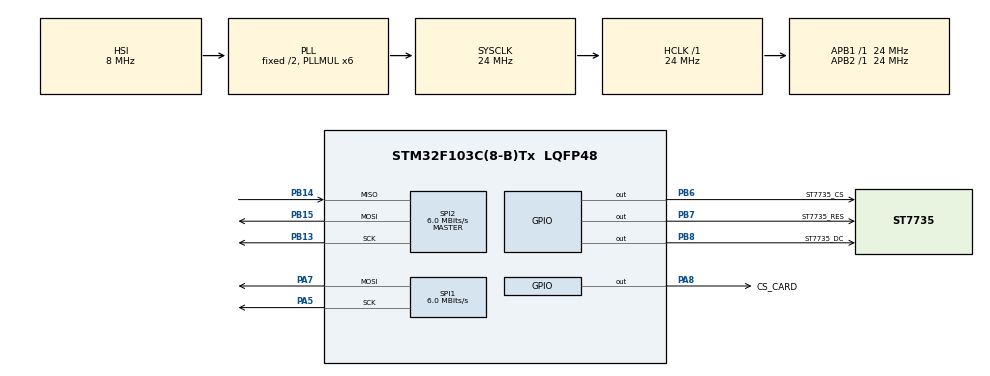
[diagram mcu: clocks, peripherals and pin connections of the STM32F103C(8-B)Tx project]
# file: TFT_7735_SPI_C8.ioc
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FATFS._MAX_SS=4096
FATFS._USE_LFN=1
Mcu.Family=STM32F1
Mcu.Name=STM32F103C(8-B)Tx
Mcu.Package=LQFP48
NVIC.PriorityGroup=NVIC_PRIORITYGROUP_4
PA13.Mode=Serial_Wire
PA13.Signal=SYS_JTMS-SWDIO
PA14.Mode=Serial_Wire
PA14.Signal=SYS_JTCK-SWCLK
PA5.Mode=TX_Only_Simplex_Unidirect_Master
PA5.Signal=SPI1_SCK
PA7.Mode=TX_Only_Simplex_Unidirect_Master
PA7.Signal=SPI1_MOSI
PA8.GPIO_Label=CS_CARD
PA8.Signal=GPIO_Output
PB13.Mode=Full_Duplex_Master
PB13.Signal=SPI2_SCK
PB14.Mode=Full_Duplex_Master
PB14.Signal=SPI2_MISO
PB15.Mode=Full_Duplex_Master
PB15.Signal=SPI2_MOSI
PB6.GPIO_Label=ST7735_CS
PB6.Signal=GPIO_Output
PB7.GPIO_Label=ST7735_RES
PB7.Signal=GPIO_Output
PB8.GPIO_Label=ST7735_DC
PB8.Signal=GPIO_Output
PD0-OSC_IN.Mode=HSE-External-Oscillator
PD0-OSC_IN.Signal=RCC_OSC_IN
PD1-OSC_OUT.Mode=HSE-External-Oscillator
PD1-OSC_OUT.Signal=RCC_OSC_OUT
ProjectManager.HeapSize=0x200
ProjectManager.StackSize=0x400
ProjectManager.TargetToolchain=STM32CubeIDE
RCC.AHBFreq_Value=24000000
RCC.APB1Freq_Value=24000000
RCC.APB1TimFreq_Value=24000000
RCC.APB2Freq_Value=24000000
RCC.APB2TimFreq_Value=24000000
RCC.HCLKFreq_Value=24000000
RCC.PLLMUL=RCC_PLL_MUL6
RCC.SYSCLKFreq_VALUE=24000000
RCC.SYSCLKSource=RCC_SYSCLKSOURCE_PLLCLK
RCC.USBFreq_Value=24000000
SPI1.BaudRatePrescaler=SPI_BAUDRATEPRESCALER_4
SPI1.CalculateBaudRate=6.0 MBits/s
SPI1.Direction=SPI_DIRECTION_2LINES
SPI1.Mode=SPI_MODE_MASTER
SPI1.VirtualType=VM_MASTER
SPI2.BaudRatePrescaler=SPI_BAUDRATEPRESCALER_4
SPI2.CalculateBaudRate=6.0 MBits/s
SPI2.Direction=SPI_DIRECTION_2LINES
SPI2.Mode=SPI_MODE_MASTER
SPI2.VirtualType=VM_MASTER
VP_FATFS_VS_Generic.Mode=User_defined
board=custom

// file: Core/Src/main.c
/* USER CODE BEGIN Header */
/**
  ******************************************************************************
  * @file           : main.c
  * @brief          : Main program body
  ******************************************************************************
  * @attention
  *
  * Copyright (c) 2023 STMicroelectronics.
  * All rights reserved.
  *
  * This software is licensed under terms that can be found in the LICENSE file
  * in the root directory of this software component.
  * If no LICENSE file comes with this software, it is provided AS-IS.
  *
  ******************************************************************************
  */
/* USER CODE END Header */
#include "main.h"
#include "fatfs.h"
#include <string.h>
#include "st7735.h"
#include "GFX_FUNCTIONS.h"
#include "fonts.h"
//#include "vangogh1.h"
#include "fatfs_sd.h"
#include <stdlib.h>
/* USER CODE BEGIN Includes */

//uint8_t *buff;
//buff = (uint8_t *)malloc(8192);

//uint8_t buff[8192]="xinchaoxinchao";
//uint16_t i_3 = 0;
//uint8_t y0_image = 0;
//uint8_t y1_image = 40;

/* USER CODE END Includes */

/* USER CODE BEGIN PD */
//#define pi 3.14
/* USER CODE END PD */

SPI_HandleTypeDef hspi1;
SPI_HandleTypeDef hspi2;

void SystemClock_Config(void);
static void MX_GPIO_Init(void);
static void MX_SPI1_Init(void);
static void MX_SPI2_Init(void);
void sd_read();

/* USER CODE BEGIN 0 */

FATFS fs;
FIL fil;
UINT bytesRead;
void sd_read(char *input_string)
{
	uint8_t *buff;
	buff = (uint8_t *)malloc(8192);
////	buff = (uint8_t *)malloc(90460);

//	static uint8_t *buff;

	if( f_mount(&fs, "", 0) == FR_OK)
	{
		if( f_open(&fil, input_string, FA_OPEN_ALWAYS| FA_READ) == FR_OK)
		{
			if( f_lseek(&fil, 0) == FR_OK)
			{
				if( f_read(&fil, buff, 8192, &bytesRead) != FR_OK)
				{
					Error_Handler();
				}

			}
		}
		ST7735_DrawImage(0, 0, 128, 32, (uint8_t*)buff);

		f_lseek(&fil, 8192);
		f_read(&fil, buff, 8192, &bytesRead);
//		f_close(&fil);
		ST7735_DrawImage(0, 32, 128, 32, (uint8_t*)buff);

		f_lseek(&fil, 16384);
		f_read(&fil, buff, 8192, &bytesRead);
		ST7735_DrawImage(0, 64, 128, 32, (uint8_t*)buff);

		f_lseek(&fil, 24576);
		f_read(&fil, buff, 8192, &bytesRead);
		ST7735_DrawImage(0, 96, 128, 32, (uint8_t*)buff);

		f_lseek(&fil, 32768);
		f_read(&fil, buff, 8192, &bytesRead);
		f_close(&fil);
		ST7735_DrawImage(0, 128, 128, 32, (uint8_t*)buff);
	}
//	free(buff);
//	buff = NULL;
}

/* USER CODE END 0 */

int main(void)
{

  /* MCU Configuration--------------------------------------------------------*/

  /* Reset of all peripherals, Initializes the Flash interface and the Systick. */
  HAL_Init();

  /* Configure the system clock */
  SystemClock_Config();

  /* Initialize all configured peripherals */
  MX_GPIO_Init();
  MX_SPI1_Init();
  MX_SPI2_Init();
  MX_FATFS_Init();
  /* USER CODE BEGIN 2 */
  ST7735_Init();
  HAL_Delay(500);
  ST7735_FillScreen(ST7735_BLACK);
//  sd_read("vangogh.bin");
  /* USER CODE END 2 */

  /* Infinite loop */
  while (1)
  {
		sd_read("vangogh.bin");
		HAL_Delay(2000);

		sd_read("2.bin");
		HAL_Delay(2000);

		sd_read("3.bin");
		HAL_Delay(2000);

		sd_read("4.bin");
		HAL_Delay(2000);

		sd_read("5.bin");
		HAL_Delay(2000);

		sd_read("6.bin");
		HAL_Delay(2000);

		sd_read("7.bin");
		HAL_Delay(2000);

		sd_read("8.bin");
		HAL_Delay(2000);

		sd_read("9.bin");
		HAL_Delay(2000);

		sd_read("10.bin");
		HAL_Delay(2000);

		sd_read("11.bin");
		HAL_Delay(2000);

		sd_read("12.bin");
		HAL_Delay(2000);
  }
}

void SystemClock_Config(void)
{
  RCC_OscInitTypeDef RCC_OscInitStruct = {0};
  RCC_ClkInitTypeDef RCC_ClkInitStruct = {0};

  /** Initializes the RCC Oscillators according to the specified parameters
  * in the RCC_OscInitTypeDef structure.
  */
  RCC_OscInitStruct.OscillatorType = RCC_OSCILLATORTYPE_HSI;
  RCC_OscInitStruct.HSIState = RCC_HSI_ON;
  RCC_OscInitStruct.HSICalibrationValue = RCC_HSICALIBRATION_DEFAULT;
  RCC_OscInitStruct.PLL.PLLState = RCC_PLL_ON;
  RCC_OscInitStruct.PLL.PLLSource = RCC_PLLSOURCE_HSI_DIV2;
  RCC_OscInitStruct.PLL.PLLMUL = RCC_PLL_MUL6;
  if (HAL_RCC_OscConfig(&RCC_OscInitStruct) != HAL_OK)
  {
    Error_Handler();
  }

  /** Initializes the CPU, AHB and APB buses clocks
  */
  RCC_ClkInitStruct.ClockType = RCC_CLOCKTYPE_HCLK|RCC_CLOCKTYPE_SYSCLK
                              |RCC_CLOCKTYPE_PCLK1|RCC_CLOCKTYPE_PCLK2;
  RCC_ClkInitStruct.SYSCLKSource = RCC_SYSCLKSOURCE_PLLCLK;
  RCC_ClkInitStruct.AHBCLKDivider = RCC_SYSCLK_DIV1;
  RCC_ClkInitStruct.APB1CLKDivider = RCC_HCLK_DIV1;
  RCC_ClkInitStruct.APB2CLKDivider = RCC_HCLK_DIV1;

  if (HAL_RCC_ClockConfig(&RCC_ClkInitStruct, FLASH_LATENCY_0) != HAL_OK)
  {
    Error_Handler();
  }
}

static void MX_SPI1_Init(void)
{

  /* SPI1 parameter configuration*/
  hspi1.Instance = SPI1;
  hspi1.Init.Mode = SPI_MODE_MASTER;
  hspi1.Init.Direction = SPI_DIRECTION_2LINES;
  hspi1.Init.DataSize = SPI_DATASIZE_8BIT;
  hspi1.Init.CLKPolarity = SPI_POLARITY_LOW;
  hspi1.Init.CLKPhase = SPI_PHASE_1EDGE;
  hspi1.Init.NSS = SPI_NSS_SOFT;
  hspi1.Init.BaudRatePrescaler = SPI_BAUDRATEPRESCALER_4;
  hspi1.Init.FirstBit = SPI_FIRSTBIT_MSB;
  hspi1.Init.TIMode = SPI_TIMODE_DISABLE;
  hspi1.Init.CRCCalculation = SPI_CRCCALCULATION_DISABLE;
  hspi1.Init.CRCPolynomial = 10;
  if (HAL_SPI_Init(&hspi1) != HAL_OK)
  {
    Error_Handler();
  }

}

static void MX_SPI2_Init(void)
{

  /* SPI2 parameter configuration*/
  hspi2.Instance = SPI2;
  hspi2.Init.Mode = SPI_MODE_MASTER;
  hspi2.Init.Direction = SPI_DIRECTION_2LINES;
  hspi2.Init.DataSize = SPI_DATASIZE_8BIT;
  hspi2.Init.CLKPolarity = SPI_POLARITY_LOW;
  hspi2.Init.CLKPhase = SPI_PHASE_1EDGE;
  hspi2.Init.NSS = SPI_NSS_SOFT;
  hspi2.Init.BaudRatePrescaler = SPI_BAUDRATEPRESCALER_4;
  hspi2.Init.FirstBit = SPI_FIRSTBIT_MSB;
  hspi2.Init.TIMode = SPI_TIMODE_DISABLE;
  hspi2.Init.CRCCalculation = SPI_CRCCALCULATION_DISABLE;
  hspi2.Init.CRCPolynomial = 10;
  if (HAL_SPI_Init(&hspi2) != HAL_OK)
  {
    Error_Handler();
  }

}

static void MX_GPIO_Init(void)
{
  GPIO_InitTypeDef GPIO_InitStruct = {0};

  /* GPIO Ports Clock Enable */
  __HAL_RCC_GPIOD_CLK_ENABLE();
  __HAL_RCC_GPIOA_CLK_ENABLE();
  __HAL_RCC_GPIOB_CLK_ENABLE();

  /*Configure GPIO pin Output Level */
  HAL_GPIO_WritePin(CS_CARD_GPIO_Port, CS_CARD_Pin, GPIO_PIN_RESET);

  /*Configure GPIO pin Output Level */
  HAL_GPIO_WritePin(GPIOB, ST7735_CS_Pin|ST7735_RES_Pin|ST7735_DC_Pin, GPIO_PIN_RESET);

  /*Configure GPIO pin : CS_CARD_Pin */
  GPIO_InitStruct.Pin = CS_CARD_Pin;
  GPIO_InitStruct.Mode = GPIO_MODE_OUTPUT_PP;
  GPIO_InitStruct.Pull = GPIO_NOPULL;
  GPIO_InitStruct.Speed = GPIO_SPEED_FREQ_LOW;
  HAL_GPIO_Init(CS_CARD_GPIO_Port, &GPIO_InitStruct);

  /*Configure GPIO pins : ST7735_CS_Pin ST7735_RES_Pin ST7735_DC_Pin */
  GPIO_InitStruct.Pin = ST7735_CS_Pin|ST7735_RES_Pin|ST7735_DC_Pin;
  GPIO_InitStruct.Mode = GPIO_MODE_OUTPUT_PP;
  GPIO_InitStruct.Pull = GPIO_NOPULL;
  GPIO_InitStruct.Speed = GPIO_SPEED_FREQ_LOW;
  HAL_GPIO_Init(GPIOB, &GPIO_InitStruct);

}

void Error_Handler(void)
{
  __disable_irq();
  while (1)
  {
  }
}
